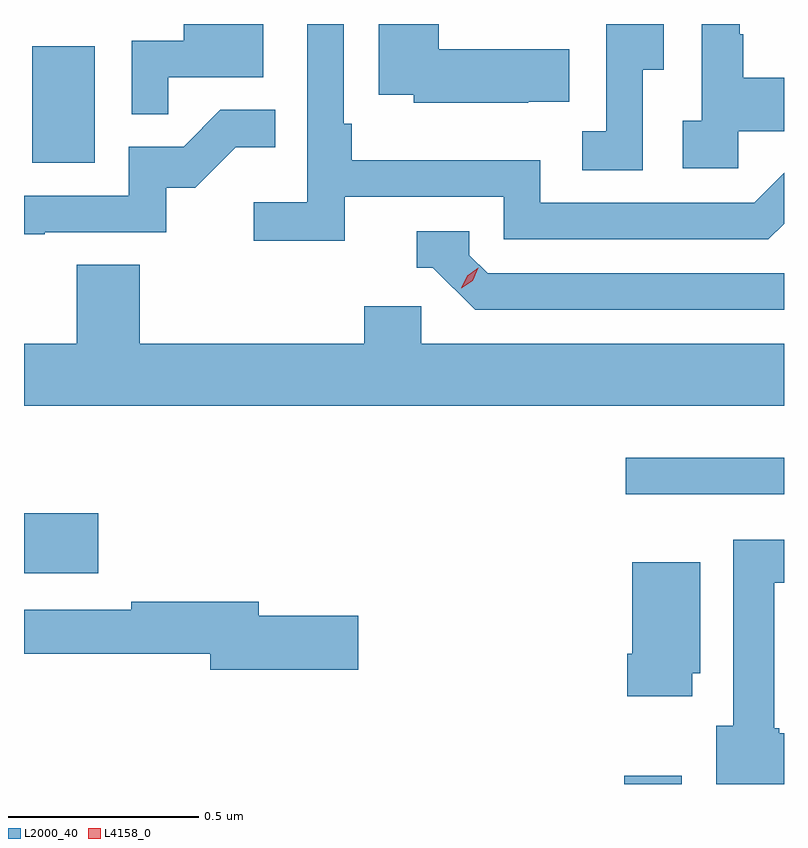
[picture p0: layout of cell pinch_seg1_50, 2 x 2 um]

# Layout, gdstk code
import gdstk
lib = gdstk.Library(unit=1e-6, precision=1e-09)
def R(c, l, rs):  # rectangles x0, y0, x1, y1
    for r in rs: c.add(gdstk.rectangle(r[:2], r[2:], *l))
def P(c, l, *ps):  # polygons
    for p in ps: c.add(gdstk.Polygon(p, *l))
L2000_40 = (2000, 40)
L4158_0 = (4158, 0)

pinch_seg1_50 = lib.new_cell('pinch_seg1_50')
R(pinch_seg1_50, L2000_40, [(1055.321,572.049,1055.473,572.071), (1053.742,572.603,1053.937,572.761), (1055.325,572.811,1055.742,572.908), (1053.764,573.684,1053.928,573.991)])
P(pinch_seg1_50, L2000_40, [(1054.121,573.909),(1054.372,573.909),(1054.372,574.049),(1054.163,574.049),(1054.163,574.005),(1054.026,574.005),(1054.026,573.811),(1054.121,573.811)],
  [(1055.069,573.845),(1055.177,573.845),(1055.177,573.982),(1054.834,573.982),(1054.834,574.049),(1054.676,574.049),(1054.676,573.863),(1054.767,573.863),(1054.767,573.842),(1055.069,573.842)],
  [(1055.622,573.767),(1055.742,573.767),(1055.742,573.907),(1055.635,573.907),(1055.635,574.022),(1055.625,574.022),(1055.625,574.049),(1055.526,574.049),(1055.526,573.794),(1055.475,573.794),(1055.475,573.669),(1055.622,573.669)],
  [(1055.37,573.928),(1055.425,573.928),(1055.425,574.049),(1055.274,574.049),(1055.274,573.767),(1055.211,573.767),(1055.211,573.664),(1055.37,573.664)],
  [(1054.586,573.594),(1055.004,573.594),(1055.004,573.483),(1055.701,573.483),(1055.742,573.524),(1055.742,573.657),(1055.664,573.579),(1055.1,573.579),(1055.1,573.691),(1054.604,573.691),(1054.604,573.787),(1054.584,573.787),(1054.584,574.049),(1054.488,574.049),(1054.488,573.58),(1054.347,573.58),(1054.347,573.478),(1054.586,573.478)],
  [(1053.797,573.501),(1054.116,573.501),(1054.116,573.618),(1054.192,573.618),(1054.299,573.725),(1054.403,573.725),(1054.403,573.823),(1054.259,573.823),(1054.162,573.726),(1054.017,573.726),(1054.017,573.597),(1053.742,573.597),(1053.742,573.496),(1053.797,573.496)],
  [(1055.742,573.393),(1054.962,573.393),(1054.914,573.441),(1054.914,573.504),(1054.775,573.504),(1054.775,573.408),(1054.818,573.408),(1054.929,573.297),(1055.742,573.297)],
  [(1055.742,573.208),(1054.788,573.208),(1054.788,573.306),(1054.637,573.306),(1054.637,573.208),(1054.046,573.208),(1054.046,573.416),(1053.881,573.416),(1053.881,573.208),(1053.742,573.208),(1053.742,573.044),(1055.742,573.044)],
  [(1055.742,572.182),(1055.73,572.182),(1055.73,572.196),(1055.716,572.196),(1055.716,572.579),(1055.742,572.579),(1055.742,572.692),(1055.609,572.692),(1055.609,572.202),(1055.564,572.202),(1055.564,572.049),(1055.742,572.049)],
  [(1055.5,572.34),(1055.521,572.34),(1055.521,572.632),(1055.342,572.632),(1055.342,572.392),(1055.33,572.392),(1055.33,572.28),(1055.5,572.28)],
  [(1054.621,572.492),(1054.36,572.492),(1054.36,572.528),(1054.024,572.528),(1054.024,572.508),(1053.742,572.508),(1053.742,572.392),(1054.232,572.392),(1054.232,572.35),(1054.621,572.35)])
P(pinch_seg1_50, L4158_0, [(1054.892,573.354),(1054.892,573.354),(1054.908,573.387),(1054.938,573.407),(1054.938,573.407),(1054.938,573.407),(1054.923,573.374),(1054.892,573.354)])

lib.write_gds('pinch_seg1_50.gds')
